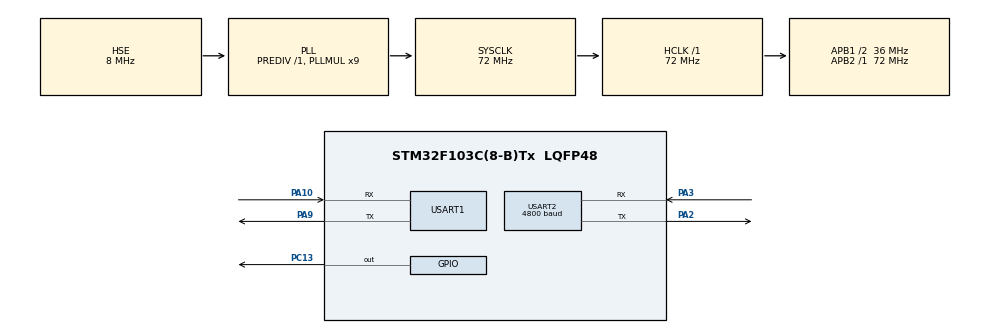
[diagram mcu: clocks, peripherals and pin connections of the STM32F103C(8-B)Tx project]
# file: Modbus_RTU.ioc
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Dma.Request0=USART2_RX
Dma.Request1=USART2_TX
Dma.USART2_RX.0.Direction=DMA_PERIPH_TO_MEMORY
Dma.USART2_RX.0.Instance=DMA1_Channel6
Dma.USART2_RX.0.MemDataAlignment=DMA_MDATAALIGN_BYTE
Dma.USART2_RX.0.MemInc=DMA_MINC_ENABLE
Dma.USART2_RX.0.Mode=DMA_NORMAL
Dma.USART2_RX.0.PeriphDataAlignment=DMA_PDATAALIGN_BYTE
Dma.USART2_RX.0.PeriphInc=DMA_PINC_DISABLE
Dma.USART2_RX.0.Priority=DMA_PRIORITY_LOW
Dma.USART2_TX.1.Direction=DMA_MEMORY_TO_PERIPH
Dma.USART2_TX.1.Instance=DMA1_Channel7
Dma.USART2_TX.1.MemDataAlignment=DMA_MDATAALIGN_BYTE
Dma.USART2_TX.1.MemInc=DMA_MINC_ENABLE
Dma.USART2_TX.1.Mode=DMA_NORMAL
Dma.USART2_TX.1.PeriphDataAlignment=DMA_PDATAALIGN_BYTE
Dma.USART2_TX.1.PeriphInc=DMA_PINC_DISABLE
Dma.USART2_TX.1.Priority=DMA_PRIORITY_LOW
Mcu.Family=STM32F1
Mcu.Name=STM32F103C(8-B)Tx
Mcu.Package=LQFP48
NVIC.DMA1_Channel6_IRQn=true\:0\:0\:false\:false\:true\:false\:true
NVIC.DMA1_Channel7_IRQn=true\:0\:0\:false\:false\:true\:false\:true
NVIC.PriorityGroup=NVIC_PRIORITYGROUP_4
NVIC.USART2_IRQn=true\:0\:0\:false\:false\:true\:true\:true
PA10.Mode=Asynchronous
PA10.Signal=USART1_RX
PA2.Mode=Asynchronous
PA2.Signal=USART2_TX
PA3.Mode=Asynchronous
PA3.Signal=USART2_RX
PA9.Mode=Asynchronous
PA9.Signal=USART1_TX
PC13-TAMPER-RTC.Signal=GPIO_Output
PC14-OSC32_IN.Mode=LSE-External-Oscillator
PC14-OSC32_IN.Signal=RCC_OSC32_IN
PC15-OSC32_OUT.Mode=LSE-External-Oscillator
PC15-OSC32_OUT.Signal=RCC_OSC32_OUT
PD0-OSC_IN.Mode=HSE-External-Oscillator
PD0-OSC_IN.Signal=RCC_OSC_IN
PD1-OSC_OUT.Mode=HSE-External-Oscillator
PD1-OSC_OUT.Signal=RCC_OSC_OUT
ProjectManager.HeapSize=0x200
ProjectManager.StackSize=0x400
ProjectManager.TargetToolchain=MDK-ARM V5
RCC.AHBFreq_Value=72000000
RCC.APB1CLKDivider=RCC_HCLK_DIV2
RCC.APB1Freq_Value=36000000
RCC.APB1TimFreq_Value=72000000
RCC.APB2Freq_Value=72000000
RCC.APB2TimFreq_Value=72000000
RCC.HCLKFreq_Value=72000000
RCC.PLLMUL=RCC_PLL_MUL9
RCC.PLLSourceVirtual=RCC_PLLSOURCE_HSE
RCC.SYSCLKFreq_VALUE=72000000
RCC.SYSCLKSource=RCC_SYSCLKSOURCE_PLLCLK
RCC.USBFreq_Value=72000000
USART1.VirtualMode=VM_ASYNC
USART2.BaudRate=4800
USART2.VirtualMode=VM_ASYNC
VP_SYS_VS_ND.Mode=No_Debug
board=custom

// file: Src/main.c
/* USER CODE BEGIN Header */
/**
  ******************************************************************************
  * @file           : main.c
  * @brief          : Main program body
  ******************************************************************************
  * @attention
  *
  * <h2><center>&copy; Copyright (c) 2022 STMicroelectronics.
  * All rights reserved.</center></h2>
  *
  * This software component is licensed by ST under BSD 3-Clause license,
  * the "License"; You may not use this file except in compliance with the
  * License. You may obtain a copy of the License at:
  *                        opensource.org/licenses/BSD-3-Clause
  *
  ******************************************************************************
  */
/* USER CODE END Header */
#include "main.h"
#include "dma.h"
#include "usart.h"
#include "gpio.h"

/* USER CODE BEGIN Includes */
#include "stdio.h"
#include <string.h>
/* USER CODE END Includes */

void SystemClock_Config(void);

/* USER CODE BEGIN 0 */

extern DMA_HandleTypeDef hdma_usart2_rx;

//modbus问询帧
uint8_t commands[3][8]={
{0x01,0x03,0x00,0x00,0x00,0x02,0xC4,0x0B},
{0x02,0x03,0x00,0x00,0x00,0x02,0xc4,0x38},
{0x03,0x03,0x00,0x00,0x00,0x02,0xC5,0xE9},
};
//modbus应答帧
uint8_t dataBuff[20];
//中断完成标志
uint8_t isDataEnd=0;
//应答帧长度
uint8_t dataLength;

//温度
uint16_t temperature;
//湿度
uint16_t humidity;

/* USER CODE END 0 */

int main(void)
{

  /* MCU Configuration--------------------------------------------------------*/

  /* Reset of all peripherals, Initializes the Flash interface and the Systick. */
  HAL_Init();

  /* Configure the system clock */
  SystemClock_Config();

  /* Initialize all configured peripherals */
  MX_GPIO_Init();
  MX_USART1_UART_Init();
  MX_DMA_Init();
  MX_USART2_UART_Init();
  /* USER CODE BEGIN 2 */
  //使能idle中断
  __HAL_UART_ENABLE_IT(&huart2, UART_IT_IDLE);
  //打开串口DMA接收
  HAL_UART_Receive_DMA(&huart2,dataBuff,sizeof(dataBuff));
  /* USER CODE END 2 */

  /* Infinite loop */
  /* USER CODE BEGIN WHILE */
  //传感器地址
  uint8_t i=0;
  while (1)
  {
   /* USER CODE END WHILE */
	//发送第 i 个传感器的 modbus 问询帧
	HAL_UART_Transmit(&huart2,commands[i],sizeof(commands[i]),0xFFFF);
	//轮询读取三个传感器
	i=(i+1)%3;
	//打开串口DMA接收
	HAL_UART_Receive_DMA(&huart2,dataBuff,sizeof(dataBuff));

	//程序运行标志,闪灯
	HAL_Delay(1000);
	HAL_GPIO_TogglePin(GPIOC,GPIO_PIN_13);

	//中断完成,解析应答帧
	if(isDataEnd){
		//提取湿度
		humidity=(dataBuff[3] << 8) + (dataBuff[4]);
		//提取温度
		temperature=(dataBuff[5] << 8) + (dataBuff[6]);
		//串口一发送解析结果
		printf("%02x: 温度: %.1f\t 湿度: %.1f\r\n",dataBuff[0],temperature/10.0,humidity/10.0);
		memset(dataBuff,0,sizeof(dataBuff));//清空接收数组
		isDataEnd=0;//清除接收结束标志位
	}
  }
}

void SystemClock_Config(void)
{
  RCC_OscInitTypeDef RCC_OscInitStruct = {0};
  RCC_ClkInitTypeDef RCC_ClkInitStruct = {0};

  /** Initializes the RCC Oscillators according to the specified parameters
  * in the RCC_OscInitTypeDef structure.
  */
  RCC_OscInitStruct.OscillatorType = RCC_OSCILLATORTYPE_HSE;
  RCC_OscInitStruct.HSEState = RCC_HSE_ON;
  RCC_OscInitStruct.HSEPredivValue = RCC_HSE_PREDIV_DIV1;
  RCC_OscInitStruct.HSIState = RCC_HSI_ON;
  RCC_OscInitStruct.PLL.PLLState = RCC_PLL_ON;
  RCC_OscInitStruct.PLL.PLLSource = RCC_PLLSOURCE_HSE;
  RCC_OscInitStruct.PLL.PLLMUL = RCC_PLL_MUL9;
  if (HAL_RCC_OscConfig(&RCC_OscInitStruct) != HAL_OK)
  {
    Error_Handler();
  }
  /** Initializes the CPU, AHB and APB buses clocks
  */
  RCC_ClkInitStruct.ClockType = RCC_CLOCKTYPE_HCLK|RCC_CLOCKTYPE_SYSCLK
                              |RCC_CLOCKTYPE_PCLK1|RCC_CLOCKTYPE_PCLK2;
  RCC_ClkInitStruct.SYSCLKSource = RCC_SYSCLKSOURCE_PLLCLK;
  RCC_ClkInitStruct.AHBCLKDivider = RCC_SYSCLK_DIV1;
  RCC_ClkInitStruct.APB1CLKDivider = RCC_HCLK_DIV2;
  RCC_ClkInitStruct.APB2CLKDivider = RCC_HCLK_DIV1;

  if (HAL_RCC_ClockConfig(&RCC_ClkInitStruct, FLASH_LATENCY_2) != HAL_OK)
  {
    Error_Handler();
  }
}

void Error_Handler(void)
{
  __disable_irq();
  while (1)
  {
  }
}

/************************ (C) COPYRIGHT STMicroelectronics *****END OF FILE****/
